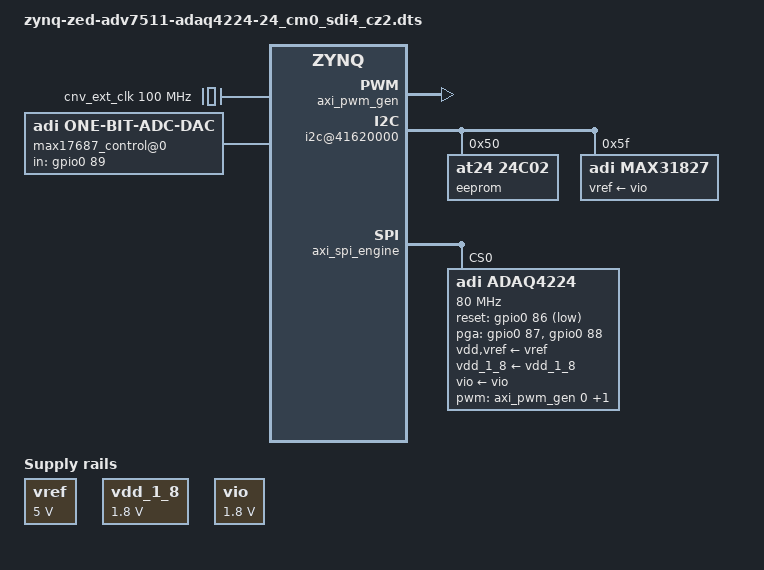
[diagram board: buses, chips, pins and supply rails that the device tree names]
// SPDX-License-Identifier: GPL-2.0
/*
 * Analog Devices AD4630-24
 *
 * hdl_project: <ad4630_fmc/zed>
 * board_revision: <B>
 *
 * Copyright (C) 2022 Analog Devices Inc.
 */
/dts-v1/;

#include "zynq-zed.dtsi"
#include "zynq-zed-adv7511.dtsi"
#include <dt-bindings/gpio/gpio.h>
#include <dt-bindings/pwm/pwm.h>

/ {
	vref: regulator-vref {
		compatible = "regulator-fixed";
		regulator-name = "fixed-supply";
		regulator-min-microvolt = <5000000>;
		regulator-max-microvolt = <5000000>;
		regulator-always-on;
	};

	vdd_1_8: regulator-vdd-1-8 {
		compatible = "regulator-fixed";
		regulator-name = "fixed-supply";
		regulator-min-microvolt = <1800000>;
		regulator-max-microvolt = <1800000>;
		regulator-always-on;
	};

	vio: regulator-vio {
		compatible = "regulator-fixed";
		regulator-name = "fixed-supply";
		regulator-min-microvolt = <1800000>;
		regulator-max-microvolt = <1800000>;
		regulator-always-on;
	};

	clocks {
		cnv_ext_clk: ext-clk {
			#clock-cells = <0x0>;
			compatible = "fixed-clock";
			clock-frequency = <100000000>;
			clock-output-names = "cnv_ext_clk";
		};
	};

	max17687_control@0 {
		compatible = "adi,one-bit-adc-dac";

		#address-cells = <1>;
		#size-cells = <0>;

		in-gpios = <&gpio0 89 GPIO_ACTIVE_HIGH>;

		channel@0 {
			reg = <0>;
			label = "MAX17687_RST";
		};
	};
};

&fpga_axi {
	rx_dma: rx-dmac@44a30000 {
		compatible = "adi,axi-dmac-1.00.a";
		reg = <0x44a30000 0x1000>;
		#dma-cells = <1>;
		interrupts = <0 57 IRQ_TYPE_LEVEL_HIGH>;
		clocks = <&clkc 15>;

		adi,channels {
			#size-cells = <0>;
			#address-cells = <1>;

			dma-channel@0 {
				reg = <0>;
				adi,source-bus-width = <64>;
				adi,source-bus-type = <1>;
				adi,destination-bus-width = <64>;
				adi,destination-bus-type = <0>;
			};
		};
	};

	spi_clk: axi-clkgen@0x44a70000 {
		compatible = "adi,axi-clkgen-2.00.a";
		reg = <0x44a70000 0x10000>;
		#clock-cells = <0>;
		clocks = <&clkc 15>, <&clkc 15>;
		clock-names = "s_axi_aclk", "clkin1";
		clock-output-names = "spi_clk";
	};

	axi_pwm_gen: axi-pwm-gen@ {
		compatible = "adi,axi-pwmgen";
		reg = <0x44b00000 0x1000>;
		label = "ad463x_cnv";
		#pwm-cells = <2>;
		clocks = <&cnv_ext_clk>;

	};

	i2c@41620000 {
		compatible = "xlnx,axi-iic-1.01.b", "xlnx,xps-iic-2.00.a";
		reg = <0x41620000 0x10000>;
		interrupt-parent = <&intc>;
		interrupts = <0 55 IRQ_TYPE_LEVEL_HIGH>;
		clocks = <&clkc 15>;
		clock-names = "pclk";

		#size-cells = <0>;
		#address-cells = <1>;

		eeprom@50 {
			compatible = "at24,24c02";
			reg = <0x50>;
		};

		max31827@5f {
			compatible = "adi,max31827";
			reg = <0x5f>;
			vref-supply = <&vio>;

			adi,comp-int;
			adi,alarm-pol = <0>;
			adi,fault-q = <1>;
			adi,timeout-enable;
		};
	};

	axi_spi_engine: spi@44a00000 {
		compatible = "adi-ex,axi-spi-engine-1.00.a";
		reg = <0x44a00000 0x1FF>;
		interrupt-parent = <&intc>;
		interrupts = <0 56 IRQ_TYPE_LEVEL_HIGH>;
		clocks = <&clkc 15>, <&spi_clk>;
		clock-names = "s_axi_aclk", "spi_clk";
		num-cs = <1>;

		#address-cells = <0x1>;
		#size-cells = <0x0>;

		adaq4224: adaq4224@0 {
			compatible = "adi,adaq4224";
			reg = <0>;
			vdd-supply = <&vref>;
			vdd_1_8-supply = <&vdd_1_8>;
			vio-supply = <&vio>;
			vref-supply = <&vref>;
			spi-max-frequency = <80000000>;
			reset-gpios = <&gpio0 86 GPIO_ACTIVE_LOW>;
			adi,pga-gpios = <&gpio0 87 GPIO_ACTIVE_HIGH>,
					<&gpio0 88 GPIO_ACTIVE_HIGH>;
			adi,lane-mode = <2>;
			adi,clock-mode = <0>;
			adi,out-data-mode = <0>;
			adi,spi-trigger;

			clocks = <&cnv_ext_clk>;
			clock-names = "trigger_clock";

			dmas = <&rx_dma 0>;
			dma-names = "rx";

			pwm-names = "spi_trigger", "cnv";
			pwms = <&axi_pwm_gen 0 0>, <&axi_pwm_gen 1 0>;
		};
	};
};
